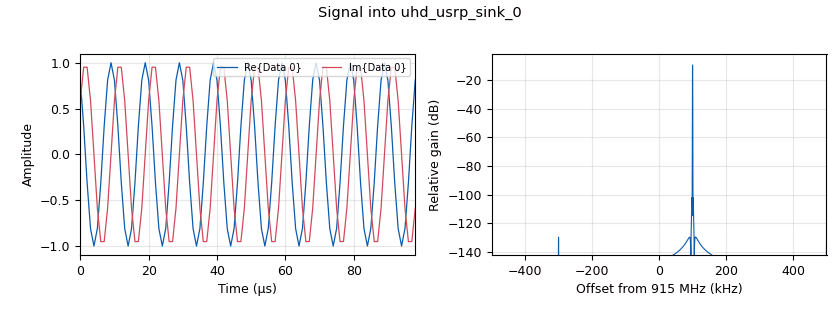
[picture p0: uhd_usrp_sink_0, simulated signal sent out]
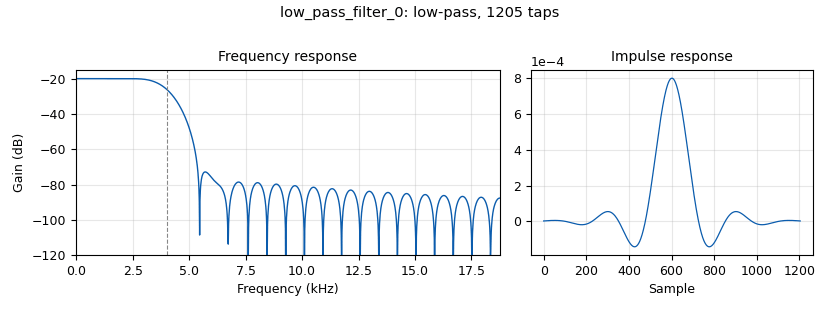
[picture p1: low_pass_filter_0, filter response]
options:
  parameters:
    author: ebaum
    generate_options: qt_gui
    id: top_block
    output_language: python
    title: Not titled yet
  states: {}

blocks:
- name: center_freq
  id: variable
  parameters:
    value: 915e6
  states: {}
- name: damp
  id: variable_qtgui_range
  parameters:
    orient: Qt.Horizontal
    start: '0.1'
    step: '0.2'
    stop: '5'
    value: '1'
  states: {}
- name: enable_rx
  id: variable_qtgui_check_box
  parameters:
    'false': '0'
    gui_hint: 1,4,1,1
    'true': '1'
    type: int
    value: '1'
  states: {}
- name: filter_samp_rate
  id: variable
  parameters:
    value: 25e3
  states: {}
- name: freq_offset
  id: variable_qtgui_entry
  parameters:
    label: Freq Offset (Hz)
    type: real
    value: '-200'
  states: {}
- name: loop_bw
  id: variable_qtgui_range
  parameters:
    orient: Qt.Horizontal
    start: '0'
    step: '0.005'
    stop: '0.1'
    value: '0.045'
  states: {}
- name: moving_avg_len
  id: variable
  parameters:
    value: int(filter_samp_rate/10)
  states: {}
- name: nfilts
  id: variable
  parameters:
    value: '32'
  states: {}
- name: pulse_width_hz
  id: variable_qtgui_entry
  parameters:
    gui_hint: 2,3,1,1
    label: pulse width (hz)
    type: int
    value: '4000'
  states: {}
- name: rx_gain
  id: variable_qtgui_range
  parameters:
    gui_hint: 2,2,1,1
    label: RX gain (dB)
    orient: Qt.Horizontal
    start: '0'
    step: '1'
    stop: '76'
    value: '45'
  states: {}
- name: samp_rate
  id: variable
  parameters:
    value: 1e6
  states: {}
- name: scatter_center_freq
  id: variable_qtgui_entry
  parameters:
    gui_hint: 1,2,1,1
    label: Scatter Freq (Hz)
    type: real
    value: '150942.76'
  states: {}
- name: sps
  id: variable
  parameters:
    value: int(filter_samp_rate/symbol_rate)
  states: {}
- name: symbol_rate
  id: variable
  parameters:
    value: 1e3
  states: {}
- name: ted_gain
  id: variable_qtgui_range
  parameters:
    orient: Qt.Horizontal
    start: '0.1'
    step: '0.1'
    stop: '4'
    value: '1'
  states: {state: disabled}
- name: ted_gain
  id: variable_qtgui_entry
  parameters:
    type: real
    value: '1'
  states: {}
- name: tone_freq
  id: variable
  parameters:
    value: tone_freq_khz * 1e3
  states: {}
- name: tone_freq_khz
  id: variable_qtgui_entry
  parameters:
    gui_hint: 1,1,1,1
    label: Tone Freq (kHz)
    type: real
    value: '100'
  states: {}
- name: tx_gain
  id: variable_qtgui_range
  parameters:
    gui_hint: 2,1,1,1
    label: TX gain (dB)
    orient: Qt.Horizontal
    start: '0'
    step: '1'
    stop: '89'
    value: '60'
  states: {}
- name: tx_samp_rate
  id: variable
  parameters:
    value: 1e6
  states: {}
- name: analog_agc2_xx_0
  id: analog_agc2_xx
  parameters:
    attack_rate: '1e-1'
    decay_rate: '1e-2'
    gain: '1.0'
    max_gain: '65536'
    reference: '1.0'
    type: complex
  states: {}
- name: analog_agc_xx_0
  id: analog_agc_xx
  parameters:
    gain: '1.0'
    max_gain: '65536'
    rate: '1e-4'
    reference: '1.0'
    type: complex
  states: {state: disabled}
- name: analog_sig_source_x_0
  id: analog_sig_source_x
  parameters:
    amp: '1'
    freq: tone_freq
    offset: '0'
    phase: '0'
    samp_rate: tx_samp_rate
    type: complex
    waveform: analog.GR_COS_WAVE
  states: {}
- name: analog_sig_source_x_1
  id: analog_sig_source_x
  parameters:
    amp: '1'
    freq: '-(tone_freq + scatter_center_freq + freq_offset)'
    offset: '0'
    phase: '0'
    samp_rate: samp_rate
    type: complex
    waveform: analog.GR_COS_WAVE
  states: {}
- name: blocks_add_const_vxx_0
  id: blocks_add_const_vxx
  parameters:
    const: ord('0')
    type: byte
  states: {state: disabled}
- name: blocks_add_const_vxx_1
  id: blocks_add_const_vxx
  parameters:
    const: '-1'
    type: float
  states: {state: disabled}
- name: blocks_add_const_vxx_2
  id: blocks_add_const_vxx
  parameters:
    const: '-0.5'
    type: float
  states: {state: disabled}
- name: blocks_add_const_vxx_3
  id: blocks_add_const_vxx
  parameters:
    const: '-1'
    type: float
  states: {state: disabled}
- name: blocks_char_to_float_0
  id: blocks_char_to_float
  parameters:
    scale: '1'
  states: {state: disabled}
- name: blocks_complex_to_imag_0
  id: blocks_complex_to_imag
  parameters: {}
  states: {}
- name: blocks_complex_to_imag_0_0
  id: blocks_complex_to_imag
  parameters: {}
  states: {}
- name: blocks_complex_to_mag_0
  id: blocks_complex_to_mag
  parameters: {}
  states: {}
- name: blocks_complex_to_real_0
  id: blocks_complex_to_real
  parameters: {}
  states: {}
- name: blocks_complex_to_real_1
  id: blocks_complex_to_real
  parameters: {}
  states: {}
- name: blocks_copy_0
  id: blocks_copy
  parameters:
    enabled: 'True'
    type: complex
  states: {}
- name: blocks_divide_xx_0
  id: blocks_divide_xx
  parameters:
    type: float
  states: {state: disabled}
- name: blocks_file_sink_0
  id: blocks_file_sink
  parameters:
    comment: file output
    file: /Users/ebaum/Documents/capstone/repo/flowgraphs/wired_switching/bitstream_wired_message.txt
    type: byte
  states: {state: disabled}
- name: blocks_file_source_1
  id: blocks_file_source
  parameters:
    file: /Users/ebaum/Documents/capstone/iq/ask-tuned-30k.iq
    repeat: 'True'
    type: complex
  states: {state: disabled}
- name: blocks_float_to_complex_0
  id: blocks_float_to_complex
  parameters: {}
  states: {}
- name: blocks_moving_average_xx_0
  id: blocks_moving_average_xx
  parameters:
    comment: calculate RE bias
    length: moving_avg_len
    max_iter: '4000'
    scale: 1/moving_avg_len
    type: float
  states: {}
- name: blocks_moving_average_xx_0_0
  id: blocks_moving_average_xx
  parameters:
    comment: calculate IM bias
    length: moving_avg_len
    max_iter: '4000'
    scale: 1/moving_avg_len
    type: float
  states: {}
- name: blocks_multiply_const_vxx_0
  id: blocks_multiply_const_vxx
  parameters:
    const: enable_rx
    type: complex
  states: {}
- name: blocks_multiply_const_vxx_1
  id: blocks_multiply_const_vxx
  parameters:
    const: '10'
    type: float
  states: {state: disabled}
- name: blocks_multiply_const_vxx_2
  id: blocks_multiply_const_vxx
  parameters:
    const: '10'
    type: float
  states: {state: disabled}
- name: blocks_multiply_const_vxx_3
  id: blocks_multiply_const_vxx
  parameters:
    const: '2'
    type: float
  states: {state: disabled}
- name: blocks_multiply_xx_0
  id: blocks_multiply_xx
  parameters:
    type: complex
  states: {}
- name: blocks_null_source_0
  id: blocks_null_source
  parameters:
    type: float
  states: {state: disabled}
- name: blocks_null_source_1
  id: blocks_null_source
  parameters:
    type: float
  states: {state: disabled}
- name: blocks_repeat_0
  id: blocks_repeat
  parameters:
    interp: '15'
    type: float
  states: {state: disabled}
- name: blocks_repeat_1
  id: blocks_repeat
  parameters:
    interp: sps
    type: float
  states: {}
- name: blocks_sub_xx_0
  id: blocks_sub_xx
  parameters:
    type: complex
  states: {}
- name: blocks_throttle_0
  id: blocks_throttle
  parameters:
    samples_per_second: filter_samp_rate
    type: complex
  states: {state: disabled}
- name: blocks_uchar_to_float_0
  id: blocks_uchar_to_float
  parameters: {}
  states: {state: disabled}
- name: blocks_uchar_to_float_1
  id: blocks_uchar_to_float
  parameters: {}
  states: {state: disabled}
- name: blocks_udp_sink_0
  id: blocks_udp_sink
  parameters:
    comment: |-
      in a terminal run
      nc -luk PORT
    eof: 'True'
    ipaddr: localhost
    port: '7890'
    psize: '1472'
    type: byte
    vlen: '1'
  states: {state: disabled}
- name: digital_binary_slicer_fb_0
  id: digital_binary_slicer_fb
  parameters: {}
  states: {state: disabled}
- name: digital_binary_slicer_fb_1
  id: digital_binary_slicer_fb
  parameters: {}
  states: {state: disabled}
- name: digital_binary_slicer_fb_2
  id: digital_binary_slicer_fb
  parameters: {}
  states: {state: disabled}
- name: digital_symbol_sync_xx_0
  id: digital_symbol_sync_xx
  parameters:
    damping: damp
    loop_bw: loop_bw
    max_dev: '1.5'
    osps: '1'
    resamp_type: digital.IR_MMSE_8TAP
    sps: sps
    ted_gain: ted_gain
    ted_type: digital.TED_SIGNAL_TIMES_SLOPE_ML
    type: cc
  states: {}
- name: low_pass_filter_0
  id: low_pass_filter
  parameters:
    cutoff_freq: pulse_width_hz
    decim: int(samp_rate/filter_samp_rate)
    gain: '0.1'
    samp_rate: samp_rate
    type: fir_filter_ccf
    width: pulse_width_hz * 0.5
    win: firdes.WIN_HAMMING
  states: {}
- name: low_pass_filter_1
  id: low_pass_filter
  parameters:
    cutoff_freq: '1200'
    gain: '1'
    interp: '1'
    samp_rate: filter_samp_rate
    type: interp_fir_filter_fff
    width: '500'
    win: firdes.WIN_HAMMING
  states: {state: disabled}
- name: qtgui_const_sink_x_0
  id: qtgui_const_sink_x
  parameters:
    size: '1024'
    type: complex
  states: {state: disabled}
- name: qtgui_freq_sink_x_0
  id: qtgui_freq_sink_x
  parameters:
    bw: filter_samp_rate
    comment: filtered
    ctrlpanel: 'True'
    fc: '0'
    fftsize: '1024'
    gui_hint: 3,1,1,4
    name: tuned & filtered
    type: complex
    wintype: firdes.WIN_BLACKMAN_hARRIS
  states: {state: disabled}
- name: qtgui_freq_sink_x_1
  id: qtgui_freq_sink_x
  parameters:
    bw: samp_rate
    comment: tuned
    ctrlpanel: 'True'
    fc: scatter_center_freq
    fftsize: '1024'
    name: Tuned
    type: complex
    update_time: '0.1'
    wintype: firdes.WIN_BLACKMAN_hARRIS
  states: {state: disabled}
- name: qtgui_freq_sink_x_2
  id: qtgui_freq_sink_x
  parameters:
    bw: filter_samp_rate
    fc: '0'
    fftsize: '1024'
    type: float
    wintype: firdes.WIN_BLACKMAN_hARRIS
  states: {state: disabled}
- name: qtgui_freq_sink_x_3
  id: qtgui_freq_sink_x
  parameters:
    bw: filter_samp_rate
    fc: '0'
    fftsize: '1024'
    nconnections: '2'
    type: complex
    wintype: firdes.WIN_BLACKMAN_hARRIS
  states: {}
- name: qtgui_time_sink_x_0
  id: qtgui_time_sink_x
  parameters:
    ctrlpanel: 'True'
    size: '256'
    srate: samp_rate
    type: complex
  states: {state: disabled}
- name: qtgui_time_sink_x_1
  id: qtgui_time_sink_x
  parameters:
    ctrlpanel: 'True'
    entags: 'False'
    gui_hint: 4,1,1,4
    marker2: '2'
    nconnections: '3'
    size: '256'
    srate: filter_samp_rate
    tr_mode: qtgui.TRIG_MODE_NORM
    type: float
    update_time: '0.02'
    ymax: '5'
    ymin: '-5'
  states: {state: disabled}
- name: qtgui_time_sink_x_2
  id: qtgui_time_sink_x
  parameters:
    ctrlpanel: 'True'
    nconnections: '3'
    size: '1024'
    srate: filter_samp_rate
    type: float
  states: {state: disabled}
- name: qtgui_time_sink_x_3
  id: qtgui_time_sink_x
  parameters:
    ctrlpanel: 'True'
    nconnections: '3'
    size: '256'
    srate: filter_samp_rate
    tr_chan: '2'
    tr_mode: qtgui.TRIG_MODE_NORM
    type: float
    ymax: '2'
    ymin: '-2'
  states: {}
- name: qtgui_time_sink_x_4
  id: qtgui_time_sink_x
  parameters:
    ctrlpanel: 'True'
    nconnections: '2'
    size: '1024'
    srate: samp_rate
    type: complex
  states: {state: disabled}
- name: qtgui_waterfall_sink_x_1
  id: qtgui_waterfall_sink_x
  parameters:
    bw: filter_samp_rate
    fc: '0'
    fftsize: '1024'
    type: float
    wintype: firdes.WIN_BLACKMAN_hARRIS
  states: {state: disabled}
- name: qtgui_waterfall_sink_x_2
  id: qtgui_waterfall_sink_x
  parameters:
    bw: samp_rate
    fc: scatter_center_freq
    fftsize: '1024'
    name: full band
    type: complex
    wintype: firdes.WIN_BLACKMAN_hARRIS
  states: {state: disabled}
- name: uhd_usrp_sink_0
  id: uhd_usrp_sink
  parameters:
    ant0: TX/RX
    center_freq0: center_freq
    dev_args: '""'
    gain0: tx_gain
    len_tag_name: ''
    norm_gain0: 'False'
    samp_rate: tx_samp_rate
    sync: sync
    type: fc32
  states: {}
- name: uhd_usrp_source_0
  id: uhd_usrp_source
  parameters:
    ant0: RX2
    center_freq0: center_freq
    dc_offs_enb0: '""'
    dev_args: '""'
    gain0: rx_gain
    iq_imbal_enb0: '""'
    norm_gain0: 'False'
    samp_rate: samp_rate
    sync: sync
    type: fc32
  states: {}

connections:
- [analog_agc2_xx_0, '0', blocks_complex_to_imag_0_0, '0']
- [analog_agc2_xx_0, '0', blocks_complex_to_real_1, '0']
- [analog_agc2_xx_0, '0', blocks_sub_xx_0, '0']
- [analog_sig_source_x_0, '0', uhd_usrp_sink_0, '0']
- [analog_sig_source_x_1, '0', blocks_multiply_xx_0, '1']
- [blocks_add_const_vxx_0, '0', blocks_file_sink_0, '0']
- [blocks_add_const_vxx_0, '0', blocks_udp_sink_0, '0']
- [blocks_add_const_vxx_1, '0', qtgui_time_sink_x_1, '2']
- [blocks_add_const_vxx_2, '0', low_pass_filter_1, '0']
- [blocks_add_const_vxx_3, '0', qtgui_time_sink_x_3, '0']
- [blocks_char_to_float_0, '0', blocks_add_const_vxx_2, '0']
- [blocks_char_to_float_0, '0', qtgui_time_sink_x_2, '2']
- [blocks_complex_to_imag_0, '0', qtgui_time_sink_x_3, '1']
- [blocks_complex_to_imag_0_0, '0', blocks_moving_average_xx_0_0, '0']
- [blocks_complex_to_mag_0, '0', blocks_repeat_1, '0']
- [blocks_complex_to_real_0, '0', qtgui_time_sink_x_3, '0']
- [blocks_complex_to_real_1, '0', blocks_moving_average_xx_0, '0']
- [blocks_copy_0, '0', blocks_complex_to_imag_0, '0']
- [blocks_copy_0, '0', blocks_complex_to_real_0, '0']
- [blocks_copy_0, '0', digital_symbol_sync_xx_0, '0']
- [blocks_copy_0, '0', qtgui_const_sink_x_0, '0']
- [blocks_copy_0, '0', qtgui_freq_sink_x_3, '1']
- [blocks_divide_xx_0, '0', blocks_add_const_vxx_3, '0']
- [blocks_file_source_1, '0', blocks_throttle_0, '0']
- [blocks_float_to_complex_0, '0', blocks_sub_xx_0, '1']
- [blocks_moving_average_xx_0, '0', blocks_divide_xx_0, '1']
- [blocks_moving_average_xx_0, '0', blocks_float_to_complex_0, '0']
- [blocks_moving_average_xx_0, '0', qtgui_time_sink_x_2, '1']
- [blocks_moving_average_xx_0_0, '0', blocks_float_to_complex_0, '1']
- [blocks_multiply_const_vxx_0, '0', blocks_multiply_xx_0, '0']
- [blocks_multiply_const_vxx_1, '0', qtgui_time_sink_x_1, '1']
- [blocks_multiply_const_vxx_2, '0', qtgui_time_sink_x_1, '1']
- [blocks_multiply_const_vxx_3, '0', blocks_add_const_vxx_1, '0']
- [blocks_multiply_xx_0, '0', low_pass_filter_0, '0']
- [blocks_multiply_xx_0, '0', qtgui_freq_sink_x_1, '0']
- [blocks_multiply_xx_0, '0', qtgui_waterfall_sink_x_2, '0']
- [blocks_null_source_0, '0', qtgui_time_sink_x_1, '1']
- [blocks_null_source_1, '0', qtgui_time_sink_x_3, '1']
- [blocks_repeat_0, '0', blocks_multiply_const_vxx_2, '0']
- [blocks_repeat_1, '0', qtgui_time_sink_x_3, '2']
- [blocks_sub_xx_0, '0', blocks_copy_0, '0']
- [blocks_uchar_to_float_1, '0', blocks_multiply_const_vxx_3, '0']
- [digital_binary_slicer_fb_0, '0', blocks_add_const_vxx_0, '0']
- [digital_binary_slicer_fb_0, '0', blocks_uchar_to_float_0, '0']
- [digital_binary_slicer_fb_1, '0', blocks_uchar_to_float_1, '0']
- [digital_binary_slicer_fb_2, '0', blocks_char_to_float_0, '0']
- [digital_symbol_sync_xx_0, '0', blocks_complex_to_mag_0, '0']
- [low_pass_filter_0, '0', analog_agc2_xx_0, '0']
- [low_pass_filter_0, '0', analog_agc_xx_0, '0']
- [low_pass_filter_0, '0', qtgui_freq_sink_x_0, '0']
- [low_pass_filter_0, '0', qtgui_freq_sink_x_3, '0']
- [low_pass_filter_1, '0', digital_symbol_sync_xx_0, '0']
- [low_pass_filter_1, '0', qtgui_time_sink_x_3, '1']
- [uhd_usrp_source_0, '0', blocks_multiply_const_vxx_0, '0']
- [uhd_usrp_source_0, '0', qtgui_time_sink_x_0, '0']

metadata:
  file_format: 1
